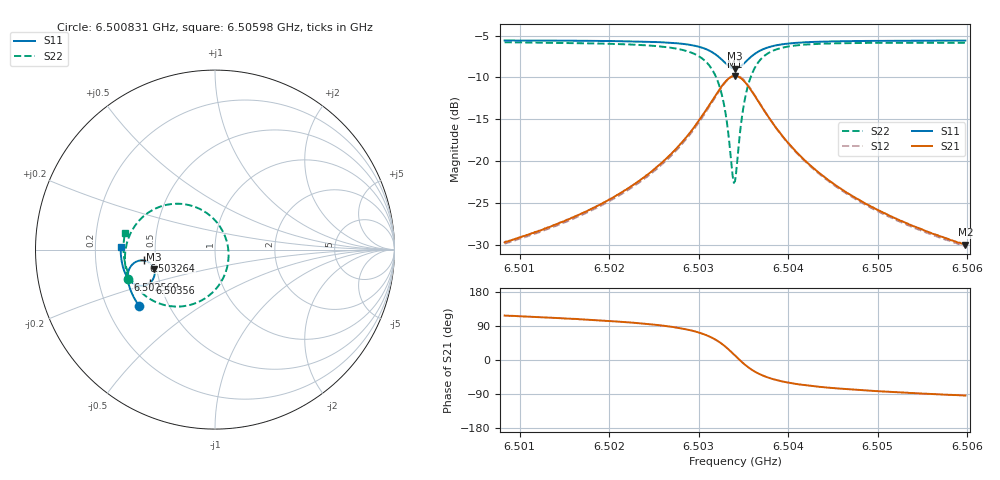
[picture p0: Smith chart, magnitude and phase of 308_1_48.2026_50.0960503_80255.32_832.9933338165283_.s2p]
#  HZ  S  RI  R  50.00
! Rohde & Schwarz Vector Network Analyzer
! Rohde-Schwarz,ZNB20-2Port,1311601062101988,3.16
! Created: UTC 3/20/2024, 11:49:51 AM
! freq[Hz]  re:S11  im:S11  re:S21  im:S21  re:S12  im:S12  re:S22  im:S22
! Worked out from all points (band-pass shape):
!   401 points, 6.500831 GHz to 6.50598 GHz, reference 50 ohm
!   highest |S21| = -9.81 dB at 6.503406 GHz (marker M1); lowest = -30.0 dB at 6.50598 GHz (marker M2)
!   |S21| within 3 dB of the highest: 6.503147 GHz to 6.503663 GHz (515.5 kHz wide, 0.00793 % of centre)
!   lowest |S11| = -9.0 dB at 6.503406 GHz (marker M3), VSWR 2.11, Z = 24.2 - j6.08 ohm
!   |S11| at or under -10 dB: nowhere
!   |S22| runs from -22.6 to -5.8 dB; largest |S21 - S12| = 0.011
!   S11 on the Smith chart (normalised r, x): 6.500831 GHz: 0.34, -0.30; 6.502569 GHz: 0.33, -0.15; 6.503264 GHz: 0.43, -0.06; 6.50356 GHz: 0.44, -0.20; 6.50598 GHz: 0.31, +0.01
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6.5008308e9  -0.4208 -0.3164  -0.015 0.0291  -0.0133 0.0293  -0.4864 -0.1648
6.5016934e9  -0.4588 -0.2537  -0.0144 0.0466  -0.0122 0.0461  -0.5014 -0.075
6.5022084e9  -0.4771 -0.2084  -0.0112 0.0678  -0.00831 0.0666  -0.4986 -0.00243
6.502556e9  -0.4855 -0.1704  -0.00305 0.0944  0.000639 0.0922  -0.4812 0.0661
6.5025688e9  -0.4856 -0.1688  -0.0025 0.0958  0.00102 0.0935  -0.48 0.0691
6.5028134e9  -0.4851 -0.1335  0.0157 0.1288  0.0195 0.1249  -0.4418 0.1384
6.5029937e9  -0.4738 -0.1004  0.05 0.1646  0.0533 0.1592  -0.374 0.2044
6.503161e9  -0.4392 -0.0675  0.1271 0.1975  0.1283 0.1912  -0.2325 0.2547
6.503264e9  -0.397 -0.0606  0.2117 0.1887  0.2119 0.1834  -0.0854 0.2269
6.5033155e9  -0.3718 -0.0692  0.2594 0.161  0.2602 0.1563  -0.00616 0.1698
6.5033799e9  -0.3455 -0.0953  0.3064 0.0981  0.3089 0.093  0.0644 0.0492
6.5034057e9  -0.3392 -0.1097  0.3164 0.0664  0.3195 0.0605  0.0751 -0.0099
6.5034185e9  -0.3374 -0.1172  0.3191 0.0499  0.3222 0.0435  0.0756 -0.0401
6.5034958e9  -0.3434 -0.1613  0.3024 -0.0433  0.3041 -0.0531  0.0185 -0.2029
6.5035601e9  -0.3644 -0.1867  0.2602 -0.0965  0.259 -0.1073  -0.0762 -0.2839
6.5036631e9  -0.4031 -0.2015  0.1868 -0.1321  0.1816 -0.1413  -0.2234 -0.3173
6.5038305e9  -0.4486 -0.1918  0.1066 -0.1292  0.0999 -0.1342  -0.368 -0.2714
6.5040107e9  -0.4757 -0.1704  0.063 -0.1097  0.0568 -0.1118  -0.4389 -0.2077
6.5042682e9  -0.4961 -0.1404  0.0333 -0.0859  0.0288 -0.0864  -0.4815 -0.1363
6.5046544e9  -0.5117 -0.1007  0.0147 -0.0631  0.0114 -0.0629  -0.5038 -0.062
6.5051308e9  -0.5212 -0.0569  0.00485 -0.047  0.00271 -0.0463  -0.5098 0.00364
6.5059805e9  -0.5257 0.0146  -0.00213 -0.0315  -0.00339 -0.0308  -0.5016 0.0923
